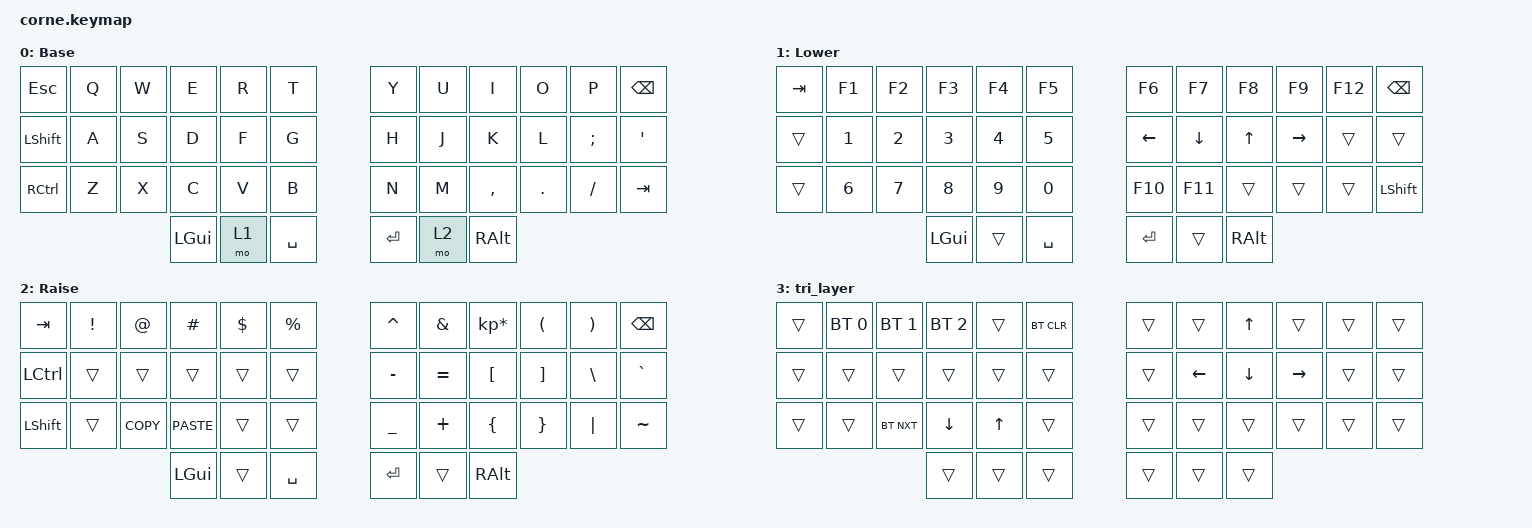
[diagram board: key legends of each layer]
/*
 * Copyright (c) 2020 The ZMK Contributors
 *
 * SPDX-License-Identifier: MIT
 */

#include <behaviors.dtsi>
#include <dt-bindings/zmk/bt.h>
#include <dt-bindings/zmk/keys.h>

/ {
    conditional_layers {
        compatible = "zmk,conditional-layers";

        tri_layer {
            if-layers = <1 2>;
            then-layer = <3>;
        };
    };

    keymap {
        compatible = "zmk,keymap";

        default_layer {
            // -----------------------------------------------------------------------------------------
            // |  TAB |  Q  |  W  |  E  |  R  |  T  |   |  Y  |  U   |  I  |  O  |  P  | BKSP |
            // | CTRL |  A  |  S  |  D  |  F  |  G  |   |  H  |  J   |  K  |  L  |  ;  |  '   |
            // | SHFT |  Z  |  X  |  C  |  V  |  B  |   |  N  |  M   |  ,  |  .  |  /  | ESC  |
            //                    | GUI | LWR | SPC |   | ENT | RSE  | ALT |

            display-name = "Base";
            bindings = <
&kp ESCAPE  &kp Q  &kp W  &kp E     &kp R  &kp T        &kp Y    &kp U  &kp I          &kp O    &kp P     &kp BSPC
&kp LSHFT   &kp A  &kp S  &kp D     &kp F  &kp G        &kp H    &kp J  &kp K          &kp L    &kp SEMI  &kp SQT
&kp RCTRL   &kp Z  &kp X  &kp C     &kp V  &kp B        &kp N    &kp M  &kp COMMA      &kp DOT  &kp FSLH  &kp TAB
                          &kp LGUI  &mo 1  &kp SPACE    &kp RET  &mo 2  &kp RIGHT_ALT
            >;
        };

        lower_layer {
            // -----------------------------------------------------------------------------------------
            // |  TAB |  1  |  2  |  3  |  4  |  5  |   |  6  |  7  |  8  |  9  |  0  | BKSP |
            // | BTCLR| BT1 | BT2 | BT3 | BT4 | BT5 |   | LFT | DWN |  UP | RGT |     |      |
            // | SHFT |     |     |     |     |     |   |     |     |     |     |     |      |
            //                    | GUI |     | SPC |   | ENT |     | ALT |

            display-name = "Lower";
            bindings = <
&kp TAB  &kp F1        &kp F2        &kp F3        &kp F4        &kp F5       &kp F6    &kp F7    &kp F8    &kp F9     &kp F12  &kp BSPC
&trans   &kp NUMBER_1  &kp NUMBER_2  &kp NUMBER_3  &kp NUMBER_4  &kp N5       &kp LEFT  &kp DOWN  &kp UP    &kp RIGHT  &trans   &trans
&trans   &kp NUMBER_6  &kp N7        &kp N8        &kp N9        &kp N0       &kp F10   &kp F11   &trans    &trans     &trans   &kp LSHFT
                                     &kp LGUI      &trans        &kp SPACE    &kp RET   &trans    &kp RALT
            >;
        };

        raise_layer {
            // -----------------------------------------------------------------------------------------
            // |  TAB |  !  |  @  |  #  |  $  |  %  |   |  ^  |  &  |  *  |  (  |  )  | BKSP |
            // | CTRL |     |     |     |     |     |   |  -  |  =  |  [  |  ]  |  \  |  `   |
            // | SHFT |     |     |     |     |     |   |  _  |  +  |  {  |  }  | "|" |  ~   |
            //                    | GUI |     | SPC |   | ENT |     | ALT |

            display-name = "Raise";
            bindings = <
&kp TAB    &kp EXCL  &kp AT      &kp HASH     &kp DLLR  &kp PRCNT    &kp CARET  &kp AMPS   &kp KP_MULTIPLY  &kp LPAR  &kp RPAR  &kp BSPC
&kp LCTRL  &trans    &trans      &trans       &trans    &trans       &kp MINUS  &kp EQUAL  &kp LBKT         &kp RBKT  &kp BSLH  &kp GRAVE
&kp LSHFT  &trans    &kp K_COPY  &kp K_PASTE  &trans    &trans       &kp UNDER  &kp PLUS   &kp LBRC         &kp RBRC  &kp PIPE  &kp TILDE
                                 &kp LGUI     &trans    &kp SPACE    &kp RET    &trans     &kp RALT
            >;
        };

        tri_layer {
            //  +------------------------------------+        +------------------------------------+
            //  | ESC  | BT0 | BT1 | BT2 |     | BCR |        |     |     | UP  |     |     | BKSP |
            //  | CTRL |     |     |     |     |     |        |     | LFT | DWN | RGT |     | DEL  |
            //  | SHFT |     |     |     |     |     |        |     |     |     |     |     | TAB  |
            //  +------------------| GUI |     | SPC |        |     | ENT | ALT |------------------+
            //                     +-----------------+        +-----------------+

            bindings = <
&trans  &bt BT_SEL 0  &bt BT_SEL 1  &bt BT_SEL 2  &trans  &bt BT_CLR    &trans  &trans    &kp UP    &trans     &trans  &trans
&trans  &trans        &trans        &trans        &trans  &trans        &trans  &kp LEFT  &kp DOWN  &kp RIGHT  &trans  &trans
&trans  &trans        &bt BT_NXT    &kp DOWN      &kp UP  &trans        &trans  &trans    &trans    &trans     &trans  &trans
                                    &trans        &trans  &trans        &trans  &trans    &trans
            >;
        };

        extra_2 { status = "reserved"; };

        extra_3 { status = "reserved"; };
    };
};
